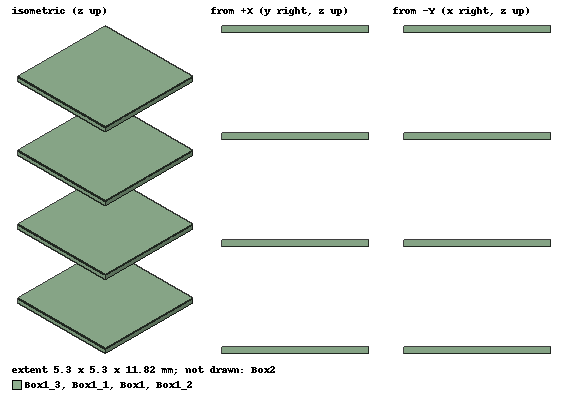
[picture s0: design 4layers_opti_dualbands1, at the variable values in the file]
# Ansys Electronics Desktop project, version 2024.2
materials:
  PVC plastic: permittivity=2.7 dielectric_loss_tangent=0.007
  vacuum: permittivity=1
  ferrite: permittivity=12 permeability=1000 conductivity=0.01
  Rogers RT/duroid 5880 (tm): permittivity=2.2 dielectric_loss_tangent=0.0009

design 4layers_opti_dualbands1 (HFSS, HFSS Modal Network, model units mm)
options: Save_Adaptive_support_files
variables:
  L = 5.3mm
  W = 0.3mm
  H = 0.254mm
  L1 = 3.6mm
  L2 = 1.6mm
  LS = L1/2
  L_I = 0.25mm
  H_a = 3.6mm
  R_a = 45deg
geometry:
  Box1 [Rogers RT/duroid 5880 (tm)] = box(corner=(0mm, 0mm, 0mm), size=(L, L, H))
  Rectangle1 = rectangle(corner=(L-(L-L1)/2-W, (L-W)/2, 0mm), x_size=W, y_size=LS)
  Rectangle2 = rectangle(corner=((L-W)/2, (L-L1)/2, 0mm), x_size=LS, y_size=W)
  Rectangle3 = rectangle(corner=((L+W)/2, L-(L-L1)/2, 0mm), x_size=-LS, y_size=-W)
  Rectangle4 = rectangle(corner=((L-L1)/2, (L+W)/2, 0mm), x_size=W, y_size=-LS)
  Rectangle5 = rectangle(corner=((L-W)/2, (L-L1)/2, 0), x_size=W, y_size=L1)
  Rectangle6 = rectangle(corner=((L-L1)/2, (L-W)/2, 0), x_size=L1, y_size=W)
  Circle1 = circle(normal=Z, centre=(L/2+L1/2-W/2, L/2+L1/2-W/2, 0), radius=W/2)
  Circle2 = circle(normal=Z, centre=(L/2+L1/2-W/2, L/2-L1/2+W/2, 0), radius=W/2)
  Circle3 = circle(normal=Z, centre=(L/2-L1/2+W/2, L/2-L1/2+W/2, 0mm), radius=W/2)
  Circle4 = circle(normal=Z, centre=(L/2-L1/2+W/2, L/2+L1/2-W/2, 0), radius=W/2)
  Rectangle7 = rectangle(corner=(L-W/2, 0mm, 0mm), x_size=W/2, y_size=L2)
  Rectangle8 = rectangle(corner=(L-L2, 0mm, 0mm), x_size=L2, y_size=W/2)
  Rectangle9 = rectangle(corner=(0mm, L-W/2, 0mm), x_size=L2, y_size=W/2)
  Rectangle10 = rectangle(corner=(0mm, 0mm, 0mm), x_size=L2, y_size=W/2)
  Rectangle11 = rectangle(corner=(L-L2, L-W/2, 0mm), x_size=L2, y_size=W/2)
  Rectangle12 = rectangle(corner=(0mm, 0mm, 0), x_size=W/2, y_size=L2)
  Rectangle13 = rectangle(corner=(0mm, L-L2, 0), x_size=W/2, y_size=L2)
  Rectangle14 = rectangle(corner=(L-W/2, L-L2, 0mm), x_size=W/2, y_size=L2)
  Circle5 = circle(normal=Z, centre=(L2, L_I, 0mm), radius=W/2)
  Circle6 = circle(normal=Z, centre=(L_I, L2, 0mm), radius=W/2)
  Circle7 = circle(normal=Z, centre=(L-L2, L_I, 0mm), radius=W/2)
  Circle8 = circle(normal=Z, centre=(L-L_I, L2, 0mm), radius=W/2)
  Circle9 = circle(normal=Z, centre=(L2, L-L_I, 0mm), radius=W/2)
  Circle10 = circle(normal=Z, centre=(L_I, L-L2, 0mm), radius=W/2)
  Circle11 = circle(normal=Z, centre=(L-L2, L-L_I, 0mm), radius=W/2)
  Circle12 = circle(normal=Z, centre=(L-L_I, L-L2, 0mm), radius=W/2)
  Rectangle15 = rectangle(corner=(0mm, 0mm, 0mm), x_size=L, y_size=L)
  Rectangle16 = rectangle(corner=(0mm, L2-W/2, 0mm), x_size=L_I, y_size=W)
  Rectangle17 = rectangle(corner=(0mm, L-L2+W/2, 0mm), x_size=L_I, y_size=-W)
  Rectangle18 = rectangle(corner=(L, L2-W/2, 0mm), x_size=-L_I, y_size=W)
  Rectangle19 = rectangle(corner=(L, L-L2+W/2, 0mm), x_size=-L_I, y_size=-W)
  Rectangle20 = rectangle(corner=(L2-W/2, 0mm, 0mm), x_size=W, y_size=L_I)
  Rectangle21 = rectangle(corner=(L2-W/2, L, 0mm), x_size=W, y_size=-L_I)
  Rectangle22 = rectangle(corner=(L-L2+W/2, 0mm, 0mm), x_size=-W, y_size=L_I)
  Rectangle23 = rectangle(corner=(L-L2+W/2, L, 0mm), x_size=-W, y_size=-L_I)
  Box2 [vacuum] = box(corner=(0mm, 0mm, -100mm), size=(L, L, 200mm+3*H_a+4*H))
  coordinate_system RelativeCS1 = origin=(L/2, L/2, 0mm) x=(1mm, 0mm, 0mm) y=(0mm, 1mm, 0mm)
  Circle5.unite(Circle6..Circle12, Rectangle7..Rectangle14, Rectangle16..Rectangle23)
  Circle1_1 = Circle1.duplicate_along_line(step=(0mm, -L1/2, 0mm), total=2) in RelativeCS1
  Circle1.unite(Circle1_1, Rectangle1)
  Circle1.move(0mm, -L1/4+W/2, 0mm) in RelativeCS1
  Circle2_1 = Circle2.duplicate_along_line(step=(-L1/2, 0mm, 0mm), total=2) in RelativeCS1
  Circle2.unite(Circle2_1, Rectangle2)
  Circle2.move(-L1/4+W/2, 0mm, 0mm) in RelativeCS1
  Circle3_1 = Circle3.duplicate_along_line(step=(0mm, L1/2, 0mm), total=2) in RelativeCS1
  Circle3.unite(Circle3_1, Rectangle4)
  Circle3.move(0mm, L1/4-W/2, 0mm) in RelativeCS1
  Circle4_1 = Circle4.duplicate_along_line(step=(L1/2, 0mm, 0mm), total=2) in RelativeCS1
  Circle4.unite(Circle4_1, Rectangle3)
  Circle4.move(L1/4-W/2, 0mm, 0mm) in RelativeCS1
  Rectangle5.unite(Rectangle6, Circle4, Circle3, Circle2, Circle1)
  Rectangle5.rotate(axis=Z, angle=R_a) in RelativeCS1
  Rectangle5.unite(Circle5)
  Rectangle15.subtract(Rectangle5)
  Box1_1, Box1_2, Box1_3 [Rogers RT/duroid 5880 (tm)] = Box1.duplicate_along_line(step=(0mm, 0mm, H+H_a), total=4) in RelativeCS1
  Rectangle15_1, Rectangle15_2, Rectangle15_3 = Rectangle15.duplicate_along_line(step=(0mm, 0mm, H+H_a), total=4) in RelativeCS1
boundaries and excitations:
  Master1: Primary Faces=Box2.face(-y) CoordSysVector{(0, 0, -22.846944) -> (5.3, 0, -22.846944)} ReverseV
  Master2: Primary Faces=Box2.face(-x) CoordSysVector{(0, 0, -22.846944) -> (0, 5.3, -22.846944)}
  Slave2: Secondary Faces=Box2.face(+x) CoordSysVector{(5.3, 0, -22.846944) -> (5.3, 5.3, -22.846944)} ReverseV primary=Master2 PhaseDelay=UseScanAngle Phi=0deg Theta=0deg
  Slave1: Secondary Faces=Box2.face(+y) CoordSysVector{(0, 5.3, -22.846944) -> (5.3, 5.3, -22.846944)} primary=Master1 PhaseDelay=UseScanAngle Phi=0deg Theta=0deg
  PerfE1: Perfect E Objects=Rectangle15
  PerfE2: Perfect E Objects=Rectangle15_1
  PerfE3: Perfect E Objects=Rectangle15_2
  PerfE4: Perfect E Objects=Rectangle15_3
  FloquetPort1: Floquet Port Faces=Box2.face(+z) NumModes=2 DeembedDist=100mm Modes{Mode1{CharImp=Zpi} Mode2{CharImp=Zpi}} PhaseDelay=UseScanAngle Phi=0deg Theta=0deg LatticeAVector{(0, 0, 111.816) -> (5.3, 0, 111.816)} LatticeBVector{(0, 0, 111.816) -> (0, 5.3, 111.816)} ModesList{Mode{ModeNumber=1 IndexM=0 IndexN=0 KC2=0 PropagationState=Propagating Attenuation=0 PolarizationState=TE AffectsRefinement} Mode{ModeNumber=2 IndexM=0 IndexN=0 KC2=0 PropagationState=Propagating Attenuation=0 PolarizationState=TM AffectsRefinement}}
  FloquetPort2: Floquet Port Faces=Box2.face(-z) NumModes=2 DeembedDist=100mm Modes{Mode1{CharImp=Zpi} Mode2{CharImp=Zpi}} PhaseDelay=UseScanAngle Phi=0deg Theta=0deg LatticeAVector{(0, 0, -100) -> (5.3, 0, -100)} LatticeBVector{(0, 0, -100) -> (0, 5.3, -100)} ModesList{Mode{ModeNumber=1 IndexM=0 IndexN=0 KC2=0 PropagationState=Propagating Attenuation=0 PolarizationState=TE AffectsRefinement} Mode{ModeNumber=2 IndexM=0 IndexN=0 KC2=0 PropagationState=Propagating Attenuation=0 PolarizationState=TM AffectsRefinement}}
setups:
  Setup1: HfssDriven MultipleAdaptiveFreqsSetup{Low=18GHz High=32GHz} MaxDeltaS=0.005 MaximumPasses=12 MinimumPasses=1 MinimumConvergedPasses=1 PercentRefinement=30 BasisOrder=1 PortAccuracy=2 DrivenSolverType="Direct Solver"
    sweep Sweep: 18GHz to 32GHz, 401 points; Type=Interpolating InterpTolerance=0.5 InterpMaxSolns=250 InterpUsePortImped=false PassivityErrorTolerance=0.0001
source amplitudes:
  FloquetPort1:1: 1W 0deg
  FloquetPort1:2, FloquetPort2:1, FloquetPort2:2: 0W 0deg
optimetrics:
  ParametricSetup1: Parametric disabled
    sweep L1: LIN 45mm 85mm 2mm
    sweep L2: LIN 24mm 40mm 2mm
  ParametricSetup2: Parametric Sim._Setups=[Setup1]
    sweep L1: LIN 3mm 5mm 0.1mm
  ParametricSetup3: Parametric Sim._Setups=[Setup1]
    sweep L2: LIN 1.4mm 1.8mm 0.05mm
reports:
  S Parameter Plot 1: dB(S(FloquetPort2:1,FloquetPort1:1)) vs Freq on Setup1 : Sweep; markers MX1 at x=1.9997901e+10
  S Parameter Plot 2: cang_deg(S(FloquetPort2:1,FloquetPort1:1)) vs Freq on Setup1 : Sweep [L2=all]
  S Parameter Plot 1_1: dB(S(FloquetPort2:1,FloquetPort1:1)), cang_deg(S(FloquetPort2:1,FloquetPort1:1)) vs L1 on Setup1 : Sweep [Freq=19.995GHz]
